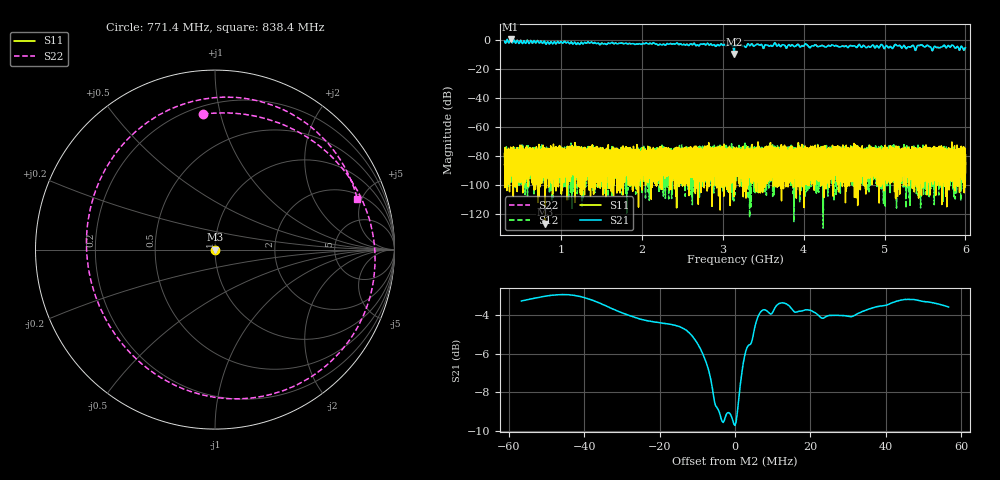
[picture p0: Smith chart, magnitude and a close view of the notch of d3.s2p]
!Agilent Technologies,N5230C,SG49000117,A.08.50.07
!Agilent N5230C: A.08.50.07
!Date: Monday, March 18, 2024 18:54:52
!Correction: S11(Off)
!S21(Off)
!S12(Off)
!S22(Off)
!S2P File: Measurements: S11, S21, S12, S22:
# Hz S  RI  R 50
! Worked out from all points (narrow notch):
!   20001 points, 300 MHz to 6 GHz, reference 50 ohm
!   highest |S21| = 0.45 dB at 373.8 MHz (marker M1); lowest = -9.7 dB at 3.14 GHz (marker M2)
!   notch at M2: 6.2 dB deep, 9.48 MHz wide at half that depth
!   lowest |S11| = -126.9 dB at 802.7 MHz (marker M3), VSWR 1.00, Z = 50 + j1.05e-05 ohm
!   |S11| at or under -10 dB: start of sweep to end of sweep
!   |S22| runs from -9.7 to 0.5 dB; largest |S21 - S12| = 1.1
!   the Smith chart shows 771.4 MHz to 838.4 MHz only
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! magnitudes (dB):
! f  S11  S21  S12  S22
! 300 MHz  -86.4  -0.9  -81.2  -0.9
! 373.8 MHz  -76.6  0.4  -78.9  0.5
! 802.7 MHz  -126.9  -2.3  -78.3  -2.3
! 1.25 GHz  -83.5  -1.7  -93.1  -1.7
! 2.2 GHz  -90.3  -3.6  -79.6  -3.7
! 3.08 GHz  -79.6  -3.4  -81.7  -3.4
! 3.14 GHz  -85.5  -9.7  -85.2  -9.7
! 3.15 GHz  -79.9  -3.9  -107.0  -3.9
! 3.175 GHz  -79.8  -3.8  -78.4  -3.7
! 3.267 GHz  -82.9  -4.4  -79.3  -4.4
! 3.334 GHz  -82.5  -4.1  -91.1  -4.1
! 3.781 GHz  -80.6  -5.5  -80.9  -5.5
! 4.029 GHz  -77.0  -2.8  -81.5  -2.7
! 4.1 GHz  -83.5  -4.2  -85.4  -4.1
! 5.05 GHz  -82.7  -5.6  -90.3  -5.5
! 5.15 GHz  -79.7  -3.8  -89.5  -3.8
! 5.386 GHz  -84.9  -7.0  -86.5  -7.0
! 5.444 GHz  -91.4  -3.7  -97.9  -3.7
! 5.543 GHz  -92.6  -4.3  -91.9  -4.3
! 5.582 GHz  -79.8  -6.6  -85.5  -6.6
! 5.835 GHz  -78.2  -3.6  -84.1  -3.7
! 6 GHz  -87.8  -5.5  -98.9  -5.5
